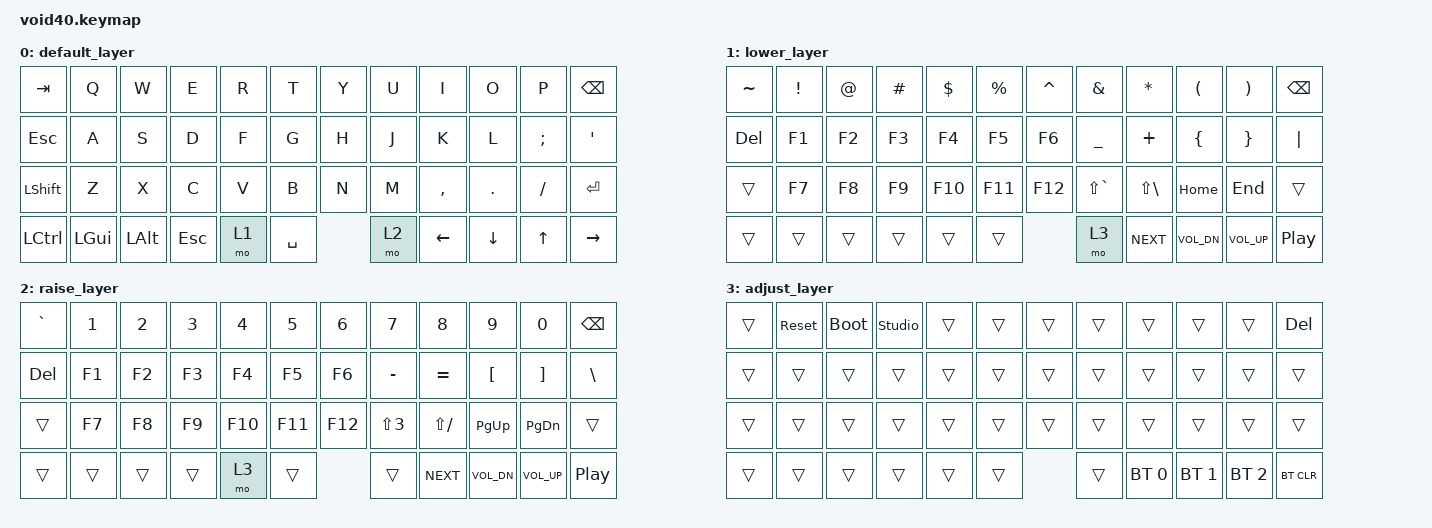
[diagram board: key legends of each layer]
/*
 * Copyright (c) 2025 Alexis Williams
 *
 * SPDX-License-Identifier: MIT
 */

#include <behaviors.dtsi>
#include <dt-bindings/zmk/bt.h>
#include <dt-bindings/zmk/keys.h>

&nice_view_spi {
    cs-gpios = <&pro_micro 0 GPIO_ACTIVE_HIGH>;
};

/ {
    keymap {
        compatible = "zmk,keymap";

        default_layer {
            // ┌──────┬──────┬──────┬──────┬──────┬──────┬──────┬──────┬──────┬──────┬──────┬──────┐
            // │  Q   │  W   │  E   │  R   │  T   │  Y   │  U   │  I   │  O   │  P   │  [   │  ]   │
            // ├──────┼──────┼──────┼──────┼──────┼──────┼──────┼──────┼──────┼──────┼──────┼──────┤
            // │  A   │  S   │  D   │  F   │  G   │  H   │  J   │  K   │  L   │  ;   │  '   │Enter │
            // ├──────┼──────┼──────┼──────┼──────┼──────┼──────┼──────┼──────┼──────┼──────┼──────┤
            // │Shift │  Z   │  X   │  C   │  V   │  B   │  N   │  M   │  ,   │  .   │  /   │Shift │
            // ├──────┼──────┼──────┼──────┼──────┼─────────────┼──────┼──────┼──────┼──────┼──────┤
            // │ Ctrl │ GUI  │ Alt  │Escap │Lower │   Space     │Raise │ Left │ Down │  Up  │Right │
            // └──────┴──────┴──────┴──────┴──────┴─────────────┴──────┴──────┴──────┴──────┴──────┘
            bindings = <
&kp TAB   &kp Q    &kp W    &kp E     &kp R     &kp T     &kp Y     &kp U     &kp I     &kp O     &kp P    &kp BSPC
&kp ESC   &kp A    &kp S    &kp D     &kp F     &kp G     &kp H     &kp J     &kp K     &kp L     &kp SEMI &kp SQT
&kp LSHFT &kp Z    &kp X    &kp C     &kp V     &kp B     &kp N     &kp M     &kp COMMA &kp DOT   &kp FSLH &kp RET
&kp LCTRL &kp LGUI &kp LALT &kp ESC   &mo 1         &kp SPACE         &mo 2     &kp LEFT  &kp DOWN  &kp UP   &kp RIGHT
            >;
        };

        lower_layer {
            // ┌──────┬──────┬──────┬──────┬──────┬──────┬──────┬──────┬──────┬──────┬──────┬──────┐
            // │  ~   │  !   │  @   │  #   │  $   │  %   │  ^   │  &   │  *   │  (   │  )   │ Bksp │
            // ├──────┼──────┼──────┼──────┼──────┼──────┼──────┼──────┼──────┼──────┼──────┼──────┤
            // │ Del  │  F1  │  F2  │  F3  │  F4  │  F5  │  F6  │  _   │  +   │  {   │  }   │  |   │
            // ├──────┼──────┼──────┼──────┼──────┼──────┼──────┼──────┼──────┼──────┼──────┼──────┤
            // │      │  F7  │  F8  │  F9  │ F10  │ F11  │ F12  │ISO ~ │ISO | │ Home │ End  │      │
            // ├──────┼──────┼──────┼──────┼──────┼─────────────┼──────┼──────┼──────┼──────┼──────┤
            // │      │      │      │      │      │             │      │ Next │ Vol- │ Vol+ │ Play │
            // └──────┴──────┴──────┴──────┴──────┴─────────────┴──────┴──────┴──────┴──────┴──────┘
            bindings = <
&kp TILDE &kp EXCL &kp AT   &kp HASH &kp DLLR &kp PRCNT &kp CARET &kp AMPS &kp ASTRK &kp LPAR &kp RPAR &kp BSPC
&kp DEL   &kp F1   &kp F2   &kp F3   &kp F4   &kp F5    &kp F6    &kp UNDER &kp PLUS &kp LBRC &kp RBRC &kp PIPE
&trans    &kp F7   &kp F8   &kp F9   &kp F10  &kp F11   &kp F12   &kp LS(GRAVE) &kp LS(BSLH) &kp HOME &kp END &trans
&trans    &trans   &trans   &trans   &trans        &trans            &mo 3     &kp C_NEXT &kp C_VOL_DN &kp C_VOL_UP &kp C_PP
            >;
        };

        raise_layer {
            // ┌──────┬──────┬──────┬──────┬──────┬──────┬──────┬──────┬──────┬──────┬──────┬──────┐
            // │  `   │  1   │  2   │  3   │  4   │  5   │  6   │  7   │  8   │  9   │  0   │ Bksp │
            // ├──────┼──────┼──────┼──────┼──────┼──────┼──────┼──────┼──────┼──────┼──────┼──────┤
            // │ Del  │  F1  │  F2  │  F3  │  F4  │  F5  │  F6  │  -   │  =   │  [   │  ]   │  \   │
            // ├──────┼──────┼──────┼──────┼──────┼──────┼──────┼──────┼──────┼──────┼──────┼──────┤
            // │      │  F7  │  F8  │  F9  │ F10  │ F11  │ F12  │ISO # │ISO / │Pg Up │Pg Dn │      │
            // ├──────┼──────┼──────┼──────┼──────┼─────────────┼──────┼──────┼──────┼──────┼──────┤
            // │      │      │      │      │      │             │      │ Next │ Vol- │ Vol+ │ Play │
            // └──────┴──────┴──────┴──────┴──────┴─────────────┴──────┴──────┴──────┴──────┴──────┘
            bindings = <
&kp GRAVE &kp N1   &kp N2   &kp N3   &kp N4   &kp N5    &kp N6    &kp N7    &kp N8   &kp N9   &kp N0   &kp BSPC
&kp DEL   &kp F1   &kp F2   &kp F3   &kp F4   &kp F5    &kp F6    &kp MINUS &kp EQUAL &kp LBKT &kp RBKT &kp BSLH
&trans    &kp F7   &kp F8   &kp F9   &kp F10  &kp F11   &kp F12   &kp LS(N3) &kp LS(FSLH) &kp PG_UP &kp PG_DN &trans
&trans    &trans   &trans   &trans   &mo 3         &trans            &trans    &kp C_NEXT &kp C_VOL_DN &kp C_VOL_UP &kp C_PP
            >;
        };

        adjust_layer {
            // ┌──────┬──────┬──────┬──────┬──────┬──────┬──────┬──────┬──────┬──────┬──────┬──────┐
            // │      │Reset │ Boot │Studio│      │      │      │      │      │      │      │  Del │
            // ├──────┼──────┼──────┼──────┼──────┼──────┼──────┼──────┼──────┼──────┼──────┼──────┤
            // │      │      │      │      │      │      │      │      │      │      │      │      │
            // ├──────┼──────┼──────┼──────┼──────┼──────┼──────┼──────┼──────┼──────┼──────┼──────┤
            // │      │      │      │      │      │      │      │      │      │      │      │      │
            // ├──────┼──────┼──────┼──────┼──────┼─────────────┼──────┼──────┼──────┼──────┼──────┤
            // │      │      │      │      │      │             │      │ BT1  │ BT2  │ BT3  │ BTCLR│
            // └──────┴──────┴──────┴──────┴──────┴─────────────┴──────┴──────┴──────┴──────┴──────┘
            bindings = <
&trans &sys_reset &bootloader &studio_unlock &trans &trans &trans &trans &trans &trans &trans &kp DEL
&trans &trans     &trans      &trans         &trans &trans &trans &trans &trans &trans &trans &trans
&trans &trans     &trans      &trans         &trans &trans &trans &trans &trans &trans &trans &trans
&trans &trans     &trans      &trans         &trans       &trans       &trans &bt BT_SEL 0 &bt BT_SEL 1 &bt BT_SEL 2 &bt BT_CLR
            >;
        };
    };
};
